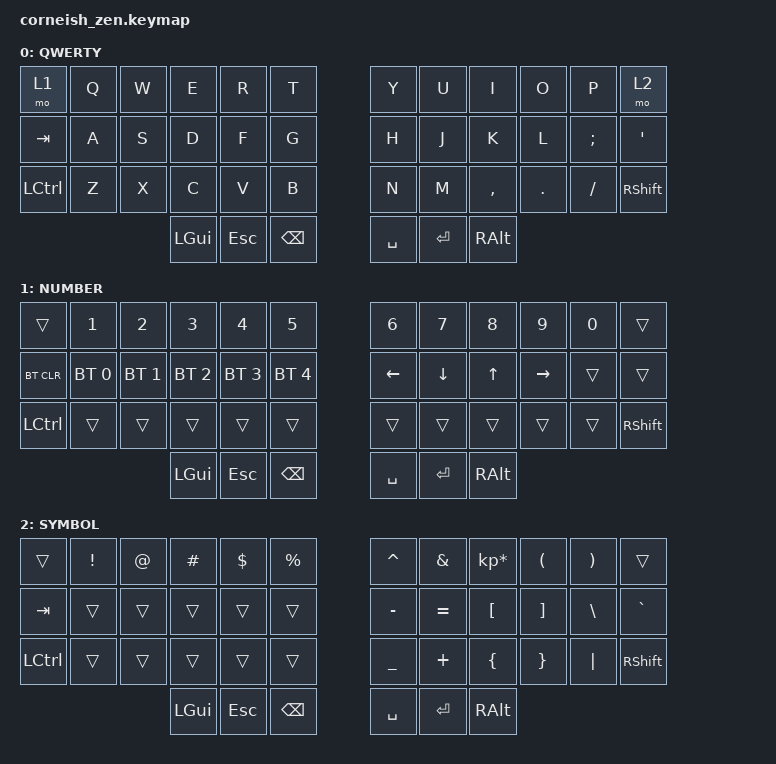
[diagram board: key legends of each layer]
#include <behaviors.dtsi>
#include <dt-bindings/zmk/keys.h>
#include <dt-bindings/zmk/bt.h>

/ {
  chosen {
    zmk,matrix_transform = &default_transform;
    //zmk,matrix_transform = &five_column_transform;
    //1.1
  };
};

/ {
        keymap {
                compatible = "zmk,keymap";

                default_layer {
                        label = "QWERTY";
// -----------------------------------------------------------------------------------------
// |  LWR |  Q  |  W  |  E  |  R  |  T  |   |  Y  |  U   |  I  |  O  |  P  | RSE  |
// |  TAB |  A  |  S  |  D  |  F  |  G  |   |  H  |  J   |  K  |  L  |  ;  |  '   |
// | CTRL |  Z  |  X  |  C  |  V  |  B  |   |  N  |  M   |  ,  |  .  |  /  | SHFT |
//                    | GUI | ESC | BSP |   | SPC | ENT | ALT |
                        bindings = <
   &mo 1     &kp Q &kp W &kp E &kp R &kp T   &kp Y   &kp U  &kp I     &kp O   &kp P    &mo 2
   &kp TAB   &kp A &kp S &kp D &kp F &kp G   &kp H   &kp J  &kp K     &kp L   &kp SEMI &kp SQT
   &kp LCTRL &kp Z &kp X &kp C &kp V &kp B   &kp N   &kp M  &kp COMMA &kp DOT &kp FSLH &kp RSHFT
                &kp LGUI &kp ESC  &kp BSPC   &kp SPACE &kp RET   &kp RALT
                        >;
                };
                lower_layer {
                        label = "NUMBER";
// -----------------------------------------------------------------------------------------
// |  LWR |  1  |  2  |  3  |  4  |  5  |   |  6  |  7  |  8  |  9  |  0  | RSE  |
// | BTCLR| BT1 | BT2 | BT3 | BT4 | BT5 |   | LFT | DWN |  UP | RGT |     |      |
// | CTRL |     |     |     |     |     |   |     |     |     |     |     | SHFT |
//                    | GUI | ESC | BSP |   | SPC | ENT | ALT |
                        bindings = <
   &trans      &kp N1       &kp N2       &kp N3       &kp N4       &kp N5         &kp N6   &kp N7   &kp N8   &kp N9    &kp N0 &trans
   &bt BT_CLR &bt BT_SEL 0 &bt BT_SEL 1 &bt BT_SEL 2 &bt BT_SEL 3 &bt BT_SEL 4   &kp LEFT &kp DOWN &kp UP   &kp RIGHT &trans &trans
   &kp LCTRL  &trans       &trans       &trans       &trans       &trans         &trans   &trans   &trans   &trans    &trans &kp RSHFT
                                          &kp LGUI   &kp ESC    &kp BSPC         &kp SPACE &kp RET   &kp RALT
                        >;
                };

                raise_layer {
                        label = "SYMBOL";
// -----------------------------------------------------------------------------------------
// |  LWR |  !  |  @  |  #  |  $  |  %  |   |  ^  |  &  |  *  |  (  |  )  | RSE  |
// |  TAB |     |     |     |     |     |   |  -  |  =  |  [  |  ]  |  \  |  `   |
// | CTRL |     |     |     |     |     |   |  _  |  +  |  {  |  }  | "|" | SHFT |
//                    | GUI | ESC | BSP |   | SPC | ENT | ALT |
                        bindings = <
   &trans      &kp EXCL &kp AT &kp HASH &kp DLLR &kp PRCNT     &kp CARET &kp AMPS  &kp KP_MULTIPLY &kp LPAR &kp RPAR &trans
   &kp TAB    &trans   &trans &trans   &trans   &trans        &kp MINUS &kp EQUAL &kp LBKT        &kp RBKT &kp BSLH &kp GRAVE
   &kp LCTRL  &trans   &trans &trans   &trans   &trans        &kp UNDER &kp PLUS  &kp LBRC        &kp RBRC &kp PIPE &kp RSHFT
                    	        &kp LGUI &kp ESC  &kp BSPC      &kp SPACE &kp RET   &kp RALT
                        >;
                };
        };
};
